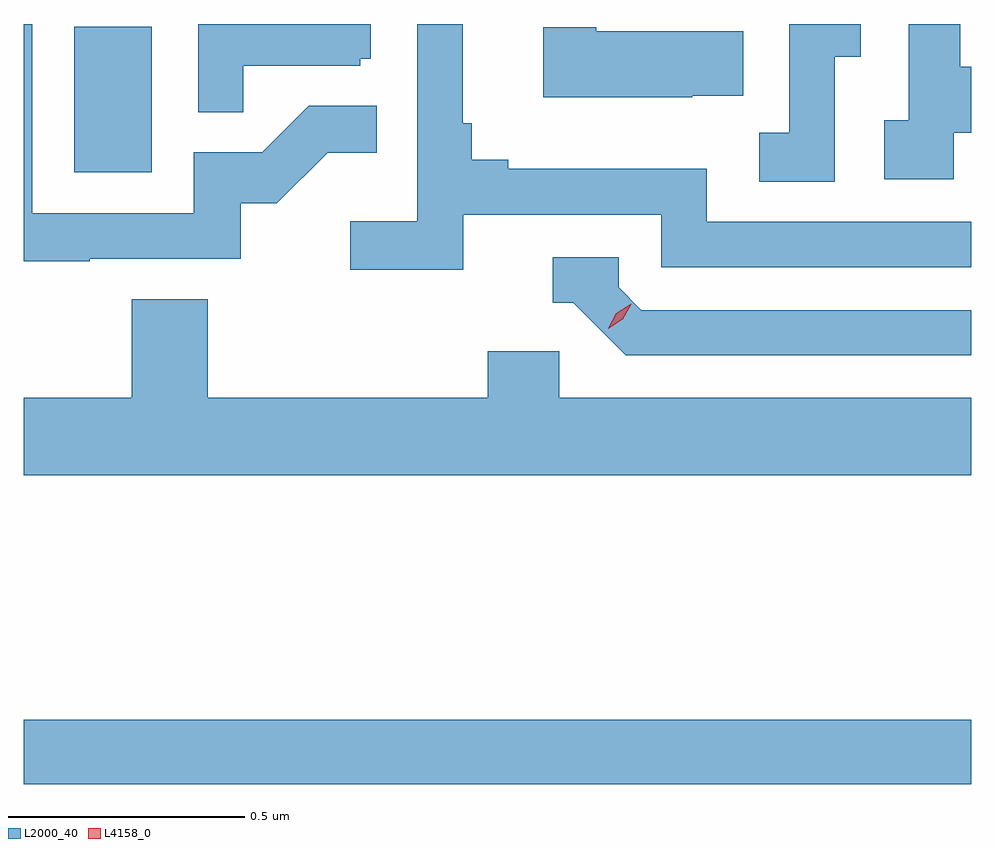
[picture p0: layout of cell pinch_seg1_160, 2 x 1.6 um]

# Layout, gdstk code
import gdstk
lib = gdstk.Library(unit=1e-6, precision=1e-09)
def R(c, l, rs):  # rectangles x0, y0, x1, y1
    for r in rs: c.add(gdstk.rectangle(r[:2], r[2:], *l))
def P(c, l, *ps):  # polygons
    for p in ps: c.add(gdstk.Polygon(p, *l))
L2000_40 = (2000, 40)
L4158_0 = (4158, 0)

pinch_seg1_160 = lib.new_cell('pinch_seg1_160')
R(pinch_seg1_160, L2000_40, [(1102.72,559.072,1104.72,559.208), (1102.826,560.364,1102.99,560.671)])
P(pinch_seg1_160, L2000_40, [(1103.183,560.589),(1103.43,560.589),(1103.43,560.604),(1103.452,560.604),(1103.452,560.677),(1103.088,560.677),(1103.088,560.491),(1103.183,560.491)],
  [(1104.684,560.447),(1104.72,560.447),(1104.72,560.587),(1104.697,560.587),(1104.697,560.677),(1104.588,560.677),(1104.588,560.474),(1104.537,560.474),(1104.537,560.349),(1104.684,560.349)],
  [(1104.432,560.608),(1104.487,560.608),(1104.487,560.677),(1104.336,560.677),(1104.336,560.447),(1104.273,560.447),(1104.273,560.344),(1104.432,560.344)],
  [(1102.859,560.181),(1103.178,560.181),(1103.178,560.298),(1103.254,560.298),(1103.361,560.405),(1103.465,560.405),(1103.465,560.504),(1103.321,560.504),(1103.223,560.406),(1103.079,560.406),(1103.079,560.277),(1102.737,560.277),(1102.737,560.677),(1102.72,560.677),(1102.72,560.176),(1102.859,560.176)],
  [(1103.648,560.274),(1104.066,560.274),(1104.066,560.163),(1104.72,560.163),(1104.72,560.259),(1104.162,560.259),(1104.162,560.371),(1103.743,560.371),(1103.743,560.39),(1103.666,560.39),(1103.666,560.467),(1103.647,560.467),(1103.647,560.677),(1103.55,560.677),(1103.55,560.26),(1103.409,560.26),(1103.409,560.158),(1103.648,560.158)],
  [(1104.131,560.525),(1104.239,560.525),(1104.239,560.662),(1103.929,560.662),(1103.929,560.67),(1103.817,560.67),(1103.817,560.522),(1104.131,560.522)],
  [(1104.72,560.073),(1104.024,560.073),(1103.976,560.121),(1103.976,560.184),(1103.837,560.184),(1103.837,560.088),(1103.88,560.088),(1103.991,559.977),(1104.72,559.977)],
  [(1104.72,559.888),(1103.85,559.888),(1103.85,559.986),(1103.699,559.986),(1103.699,559.888),(1103.108,559.888),(1103.108,560.096),(1102.948,560.096),(1102.948,559.888),(1102.72,559.888),(1102.72,559.724),(1104.72,559.724)])
P(pinch_seg1_160, L4158_0, [(1103.954,560.033),(1103.954,560.034),(1103.971,560.066),(1104.002,560.086),(1104.002,560.086),(1104.002,560.085),(1103.985,560.053),(1103.954,560.033)])

lib.write_gds('pinch_seg1_160.gds')
